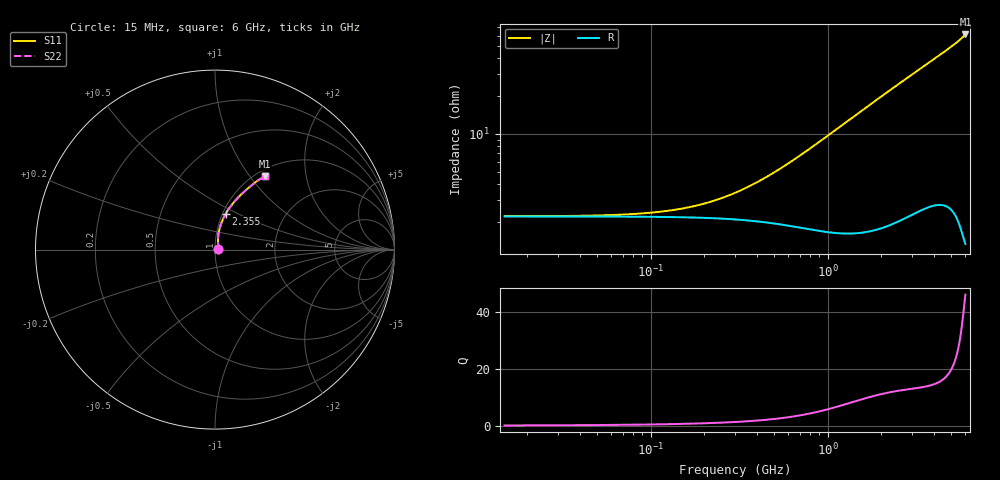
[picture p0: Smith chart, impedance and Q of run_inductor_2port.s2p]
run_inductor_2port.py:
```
import os
import sys
sys.path.insert(0, os.path.abspath(os.path.join(os.path.dirname(__file__), 'modules')))

import modules.util_stackup_reader as stackup_reader
import modules.util_gds_reader as gds_reader
import modules.util_utilities as utilities
import modules.util_simulation_setup as simulation_setup
import modules.util_meshlines as util_meshlines

from openEMS import openEMS
import numpy as np
import matplotlib.pyplot as plt

# Model comments
# Simple inductor model, 2 port model with two via ports to substrate, full two port simulation


# ======================== workflow settings ================================

# preview model/mesh only?
# postprocess existing data without re-running simulation?
preview_only = False
postprocess_only = False

# ===================== input files and path settings =======================

gds_filename = "L_2n0_twoport.gds"      # geometries
XML_filename = "SG13G2.xml"               # stackup

# preprocess GDSII for safe handling of cutouts/holes?
preprocess_gds = False

# merge via polygons with distance less than .. um, set 0 to disable via merging
merge_polygon_size = 1.0

# get path for this simulation file
script_path = utilities.get_script_path(__file__)

# use script filename as model basename
model_basename = utilities.get_basename(__file__)

# set and create directory for simulation output
sim_path = utilities.create_sim_path (script_path,model_basename)
print('Simulation data directory: ', sim_path)

# change current path to model script path
os.chdir(os.path.dirname(os.path.abspath(__file__)))


# ======================== simulation settings ================================

unit   = 1e-6   # geometry is in microns
margin = 80    # distance in microns from GDSII geometry boundary to simulation boundary 

fstart = 0
fstop  = 6e9
numfreq = 401

refined_cellsize = 2.0  # mesh cell size in conductor region

# choices for boundary: 
# 'PEC' : perfect electric conductor (default)
# 'PMC' : perfect magnetic conductor, useful for symmetries
# 'MUR' : simple MUR absorbing boundary conditions
# 'PML_8' : PML absorbing boundary conditions
Boundaries = ['PEC', 'PEC', 'PEC', 'PEC', 'PEC', 'PEC']

cells_per_wavelength = 12   # how many mesh cells per wavelength, must be 10 or more
energy_limit = -35          # end criteria for residual energy (dB)

# ports from GDSII Data, polygon geometry from specified special layer
# note that for multiport simulation, excitations are switched on/off in simulation_setup.createSimulation below
simulation_ports = simulation_setup.all_simulation_ports()
# instead of in-plane port specified with target_layername, we here use via port specified with from_layername and to_layername
simulation_ports.add_port(simulation_setup.simulation_port(portnumber=1, voltage=1, port_Z0=50, source_layernum=201, from_layername='SUBGND', to_layername='TopMetal1', direction='z'))
simulation_ports.add_port(simulation_setup.simulation_port(portnumber=2, voltage=1, port_Z0=50, source_layernum=202, from_layername='SUBGND', to_layername='TopMetal1', direction='z'))

# ======================== simulation ================================

# get technology stackup data
materials_list, dielectrics_list, metals_list = stackup_reader.read_substrate (XML_filename)
# get list of layers from technology
layernumbers = metals_list.getlayernumbers()
layernumbers.extend(simulation_ports.portlayers)

# read geometries from GDSII, only purpose 0
allpolygons = gds_reader.read_gds(gds_filename, layernumbers, purposelist=[0], metals_list=metals_list, preprocess=preprocess_gds, merge_polygon_size=merge_polygon_size)


# calculate maximum cellsize from wavelength in dielectric
wavelength_air = 3e8/fstop / unit
max_cellsize = (wavelength_air)/(np.sqrt(materials_list.eps_max)*cells_per_wavelength) 


########### create model, run and post-process ###########

FDTD = openEMS(EndCriteria=np.exp(energy_limit/10 * np.log(10)))
FDTD.SetGaussExcite( (fstart+fstop)/2, (fstop-fstart)/2 )
FDTD.SetBoundaryCond( Boundaries )


# Create simulation for port 1 and 2 excitation, return value is list of data paths, one for each excitation
data_paths = []
for excite_ports in [[1],[2]]:  # list of ports that are excited one after another
    FDTD = simulation_setup.setupSimulation (excite_ports, 
                                             simulation_ports, 
                                             FDTD, 
                                             materials_list, 
                                             dielectrics_list, 
                                             metals_list, 
                                             allpolygons, 
                                             max_cellsize, 
                                             refined_cellsize, 
                                             margin, 
                                             unit, 
                                             xy_mesh_function=util_meshlines.create_xy_mesh_from_polygons)

    data_paths.append(simulation_setup.runSimulation (excite_ports, FDTD, sim_path, model_basename, preview_only, postprocess_only))


if preview_only==False:

    print('Begin data evaluation')

    # define dB function for S-parameters
    def dB(value):
        return 20.0*np.log10(np.abs(value))        

    # define phase function for S-parameters
    def phase(value):
        return np.angle(value, deg=True) 

    f = np.linspace(fstart,fstop,numfreq)

    # get results, CSX port definition is read from simulation ports object
    # S12, S22 is available because we have simulated both port1 and port2  excitation
    s11 = utilities.calculate_Sij (1, 1, f, sim_path, simulation_ports)
    s21 = utilities.calculate_Sij (2, 1, f, sim_path, simulation_ports)
    s12 = utilities.calculate_Sij (1, 2, f, sim_path, simulation_ports)
    s22 = utilities.calculate_Sij (2, 2, f, sim_path, simulation_ports)

    s2p_name = os.path.join(sim_path, model_basename + '.s2p')
    utilities.write_snp (np.array([[s11, s21],[s12,s22]]),f, s2p_name)

    # calculate inductor parameters using Z parameters
    z11 = utilities.calculate_Zij_2port (1, 1, f, sim_path, simulation_ports)
    z21 = utilities.calculate_Zij_2port (2, 1, f, sim_path, simulation_ports)
    z12 = utilities.calculate_Zij_2port (1, 2, f, sim_path, simulation_ports)
    z22 = utilities.calculate_Zij_2port (2, 2, f, sim_path, simulation_ports)

    # ignore divide by zero warning during inductor calculation at DC
    np.seterr(divide='ignore', invalid='ignore')
    
    zdiff = z11-z12-z21+z22
    omega = 2*np.pi*f
    Qdiff = zdiff.imag/zdiff.real
    Ldiff = zdiff.imag/omega
    Rdiff = zdiff.real

    # print some inductor data
    # get series L and series R at frequency of interest
    targetfreq = 1.2e9
    findex = np.where (f>=targetfreq)[0]
    findex = findex.item(0)

    print('\nDifferential inductor parameters')
    
    print(f"Frequency [GHz]: {f[findex]/1e9:.3f}")  
    print(f"Series L  [nH] : {Ldiff[findex]*1e9:.3f}")  
    print(f"Series R  [Ohm]: {Rdiff[findex]:.3f}") 
    print(f"Q factor       : {Qdiff[findex]:.2f}")  
    print('----------------------')
    print(f"L_DC      [nH] : {Ldiff[1]*1e9:.3f}") 
    print(f"R_DC      [Ohm]: {Rdiff[0]:.3f}")  
    print(f"Peak Q         : {max(Qdiff):.2f}") 

    print('\nStarting plots')

        
    fig, axis = plt.subplots(num="Return Loss", tight_layout=True)
    axis.plot(f/1e9, dB(s11), 'k-',  linewidth=2, label='S11 (dB)')
    axis.plot(f/1e9, dB(s22), 'r--', linewidth=2, label='S22 (dB)')
    axis.grid()
    axis.set_xmargin(0)
    axis.set_xlabel('Frequency (GHz)')
    axis.set_title("Return Loss")
    axis.legend()
    
    fig, axis = plt.subplots(num="Insertion Loss", tight_layout=True)
    axis.plot(f/1e9, dB(s21), 'k-',  linewidth=2, label='S21 (dB)')
    axis.plot(f/1e9, dB(s12), 'r--', linewidth=2, label='S12 (dB)')
    axis.grid()
    axis.set_xmargin(0)
    axis.set_xlabel('Frequency (GHz)')
    axis.set_title("Insertion Loss")
    axis.legend()

    fig, axis = plt.subplots(num="Inductance", tight_layout=True)
    axis.plot(f/1e9, Ldiff*1e9, 'k-',  linewidth=2, label='Lseries [nH]')
    axis.grid()
    axis.set_xmargin(0)
    axis.set_ylim([0, 10])
    axis.set_xlabel('Frequency (GHz)')
    axis.set_title("Inductance")
    axis.legend()


    fig, axis = plt.subplots(num="Q factor", tight_layout=True)
    axis.plot(f/1e9, Qdiff, 'k-',  linewidth=2, label='Lseries [nH]')
    axis.grid()
    axis.set_xmargin(0)
    axis.set_ylim([0, 30])
    axis.set_xlabel('Frequency (GHz)')
    axis.set_title("Q factor")
    axis.legend()

   # show all plots
    plt.show()
```
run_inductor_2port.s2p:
#  Hz  S  RI  R  50
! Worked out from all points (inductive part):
!   400 points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, 15 MHz to 6 GHz, reference 50 ohm
!   read as one part in series: L = 1.5 nH near 615 MHz
!   highest Q = 46.3 at 6 GHz (marker M1), where L = 1.63 nH
!   S11 on the Smith chart (normalised r, x): 15 MHz: 1.04, +0.00; 2.355 GHz: 1.04, +0.43; 6 GHz: 1.10, +1.19
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1.5e7  0.0188 0.00108  0.9757 -0.00144  0.9757 -0.00144  0.0188 0.00108
9e7  0.0187 0.0065  0.9757 -0.00863  0.9757 -0.00863  0.0187 0.0065
1.65e8  0.0185 0.012  0.9757 -0.0158  0.9757 -0.0158  0.0184 0.012
4.8e8  0.0168 0.0368  0.975 -0.0468  0.975 -0.0468  0.0168 0.0368
6.75e8  0.0165 0.0537  0.9736 -0.0664  0.9736 -0.0664  0.0165 0.0536
1.05e9  0.0193 0.0876  0.9681 -0.1042  0.9681 -0.1042  0.0194 0.0876
1.62e9  0.032 0.1387  0.9527 -0.16  0.9527 -0.16  0.0321 0.1386
2.355e9  0.0593 0.1988  0.9236 -0.226  0.9236 -0.226  0.0594 0.1987
3.015e9  0.0906 0.2461  0.8913 -0.2786  0.8913 -0.2786  0.0906 0.2459
4.11e9  0.1501 0.3116  0.831 -0.3532  0.831 -0.3532  0.1503 0.3113
6e9  0.2782 0.4086  0.7019 -0.4703  0.7019 -0.4703  0.2785 0.4081
